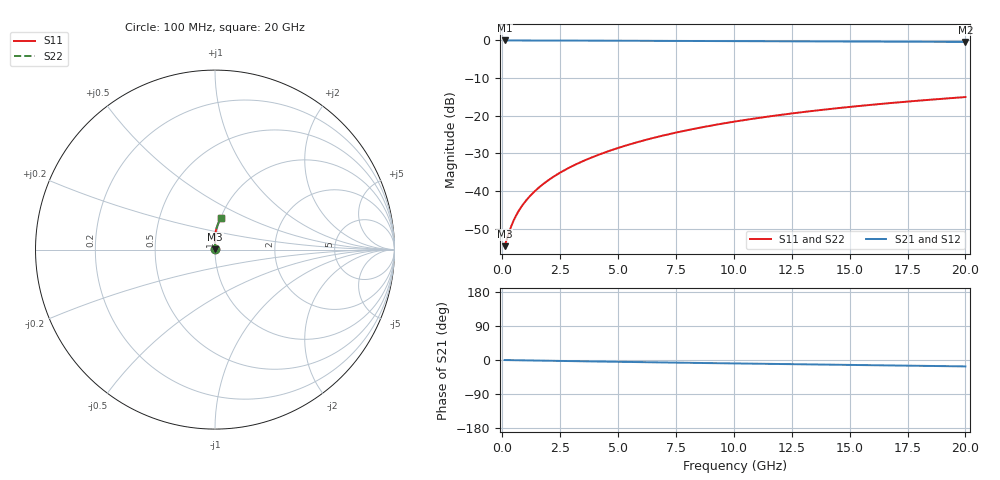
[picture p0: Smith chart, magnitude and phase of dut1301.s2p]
! Touchstone file exported from HFSS 2024.1.0
!  File:  C:/UserFiles/LocalFiles/RDL_TSV_Batchsim/temp_RDL_top_1301_1780364334.aedt
!  Generated:  09:41:42 AM Jun  2, 2026
!  Design:  RDL_top
!  Project:  temp_RDL_top_1301_1780364334
!  Setup:  Setup1
!  Solution:  Sweep
! Variables:
!  dtsv = 10.80580581um
!  hbump = 3um
!  htsv = 69.81um
!  ldown = 100um
!  lrdl = 201.55um
!  p = 40
!  p1 = 55.15um
!  rhole = 1um
!  t = 450um
!  tdown = 3.915915916um
!  trdl = 2.04um
!  wdown = 15.38538539um
!  wrdl = 29.34um
# GHz S MA R 50.000000
! Terminal data exported
! Port[1] = Box2_T1
! Port[2] = Box2_T2
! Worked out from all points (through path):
!   200 points, 100 MHz to 20 GHz, reference 50 ohm
!   highest |S21| = -0.01 dB at 100 MHz (marker M1); lowest = -0.4 dB at 20 GHz (marker M2)
!   group delay of S21, straight-line fit = 2.31 ps
!   lowest |S11| = -54.7 dB at 100 MHz (marker M3), VSWR 1.00, Z = 50.2 + j0.0775 ohm
!   |S11| at or under -10 dB: start of sweep to end of sweep
!   |S22| runs from -54.7 to -15.1 dB; largest |S21 - S12| = 6.2e-15
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0.1  0.001845 24.8  0.9983 -0.1  0.9983 -0.1  0.001845 24.8
! Gamma 0 0 0 0
! Port Impedance 50 0 50 0
0.3  0.002871 52.0  0.9982 -0.3  0.9982 -0.3  0.002871 52.0
0.4  0.003486 58.5  0.9981 -0.4  0.9981 -0.4  0.003486 58.6
0.6  0.00474 66.4  0.9979 -0.6  0.9979 -0.6  0.00474 66.4
0.7  0.005369 69.1  0.9978 -0.7  0.9978 -0.7  0.005369 69.1
0.9  0.006637 73.2  0.9976 -0.9  0.9976 -0.9  0.006637 73.2
1.2  0.008571 77.5  0.9973 -1.2  0.9973 -1.2  0.008571 77.5
1.4  0.009886 79.7  0.997 -1.4  0.997 -1.4  0.009886 79.7
1.7  0.0119 82.2  0.9967 -1.7  0.9967 -1.7  0.0119 82.2
2.2  0.01537 85.2  0.996 -2.2  0.996 -2.2  0.01537 85.2
2.8  0.0197 87.6  0.9949 -2.8  0.9949 -2.8  0.0197 87.6
3.5  0.02501 89.5  0.9935 -3.4  0.9935 -3.4  0.02501 89.5
4.2  0.03058 90.8  0.992 -4.1  0.992 -4.1  0.03058 90.8
5  0.03723 91.5  0.99 -4.8  0.99 -4.8  0.03723 91.6
5.9  0.04504 91.9  0.9878 -5.6  0.9878 -5.6  0.04504 91.9
6.8  0.05312 91.8  0.9855 -6.4  0.9855 -6.4  0.05313 91.8
8.4  0.06796 91.0  0.9814 -7.7  0.9814 -7.7  0.06797 91.0
10.1  0.08408 89.7  0.9773 -9.1  0.9773 -9.1  0.08409 89.7
11.7  0.09936 88.1  0.9735 -10.4  0.9735 -10.4  0.09937 88.2
13.4  0.1156 86.4  0.9695 -11.7  0.9695 -11.7  0.1156 86.4
16.7  0.1465 83.0  0.9621 -14.3  0.9621 -14.3  0.1465 83.0
20  0.1767 79.7  0.9545 -16.9  0.9545 -16.9  0.1767 79.7
